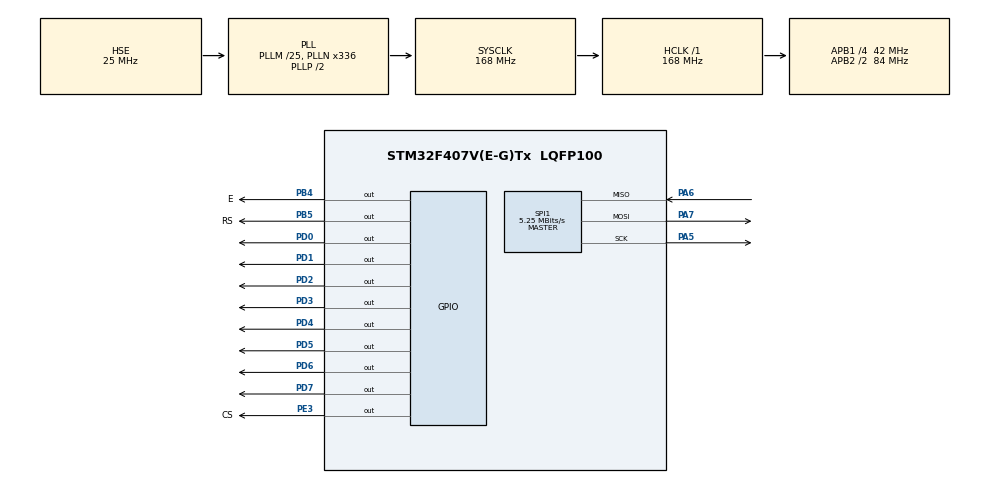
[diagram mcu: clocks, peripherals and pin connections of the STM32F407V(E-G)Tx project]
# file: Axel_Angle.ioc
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Mcu.Family=STM32F4
Mcu.Name=STM32F407V(E-G)Tx
Mcu.Package=LQFP100
NVIC.PriorityGroup=NVIC_PRIORITYGROUP_4
NVIC.RCC_IRQn=true\:0\:0\:false\:false\:true\:true\:false
NVIC.SPI1_IRQn=true\:0\:0\:false\:false\:true\:true\:true
NVIC.TIM5_IRQn=true\:0\:0\:false\:false\:true\:true\:true
PA5.Mode=Full_Duplex_Master
PA5.Signal=SPI1_SCK
PA6.Mode=Full_Duplex_Master
PA6.Signal=SPI1_MISO
PA7.Mode=Full_Duplex_Master
PA7.Signal=SPI1_MOSI
PB4.GPIO_Label=E
PB4.Signal=GPIO_Output
PB5.GPIO_Label=RS
PB5.Signal=GPIO_Output
PD0.GPIO_ModeDefaultOutputPP=GPIO_MODE_OUTPUT_PP
PD0.GPIO_Speed=GPIO_SPEED_FREQ_VERY_HIGH
PD0.Signal=GPIO_Output
PD1.GPIO_ModeDefaultOutputPP=GPIO_MODE_OUTPUT_PP
PD1.GPIO_Speed=GPIO_SPEED_FREQ_VERY_HIGH
PD1.Signal=GPIO_Output
PD2.GPIO_ModeDefaultOutputPP=GPIO_MODE_OUTPUT_PP
PD2.GPIO_Speed=GPIO_SPEED_FREQ_VERY_HIGH
PD2.Signal=GPIO_Output
PD3.GPIO_ModeDefaultOutputPP=GPIO_MODE_OUTPUT_PP
PD3.GPIO_Speed=GPIO_SPEED_FREQ_VERY_HIGH
PD3.Signal=GPIO_Output
PD4.GPIO_ModeDefaultOutputPP=GPIO_MODE_OUTPUT_PP
PD4.GPIO_Speed=GPIO_SPEED_FREQ_VERY_HIGH
PD4.Signal=GPIO_Output
PD5.GPIO_ModeDefaultOutputPP=GPIO_MODE_OUTPUT_PP
PD5.GPIO_Speed=GPIO_SPEED_FREQ_VERY_HIGH
PD5.Signal=GPIO_Output
PD6.GPIO_ModeDefaultOutputPP=GPIO_MODE_OUTPUT_PP
PD6.GPIO_Speed=GPIO_SPEED_FREQ_VERY_HIGH
PD6.Signal=GPIO_Output
PD7.GPIO_ModeDefaultOutputPP=GPIO_MODE_OUTPUT_PP
PD7.GPIO_Speed=GPIO_SPEED_FREQ_VERY_HIGH
PD7.Signal=GPIO_Output
PE3.GPIO_Label=CS
PE3.Signal=GPIO_Output
PH0-OSC_IN.Mode=HSE-External-Oscillator
PH0-OSC_IN.Signal=RCC_OSC_IN
PH1-OSC_OUT.Mode=HSE-External-Oscillator
PH1-OSC_OUT.Signal=RCC_OSC_OUT
ProjectManager.HeapSize=0x200
ProjectManager.StackSize=0x400
ProjectManager.TargetToolchain=MDK-ARM V5
RCC.48MHZClocksFreq_Value=84000000
RCC.AHBFreq_Value=168000000
RCC.APB1CLKDivider=RCC_HCLK_DIV4
RCC.APB1Freq_Value=42000000
RCC.APB1TimFreq_Value=84000000
RCC.APB2CLKDivider=RCC_HCLK_DIV2
RCC.APB2Freq_Value=84000000
RCC.APB2TimFreq_Value=168000000
RCC.CortexFreq_Value=168000000
RCC.EnbaleCSS=true
RCC.HCLKFreq_Value=168000000
RCC.HSE_VALUE=25000000
RCC.HSI_VALUE=16000000
RCC.LSE_VALUE=32768
RCC.PLLM=25
RCC.PLLN=336
RCC.PLLSourceVirtual=RCC_PLLSOURCE_HSE
RCC.SYSCLKFreq_VALUE=168000000
RCC.SYSCLKSource=RCC_SYSCLKSOURCE_PLLCLK
RCC.VCOOutputFreq_Value=336000000
SPI1.BaudRatePrescaler=SPI_BAUDRATEPRESCALER_16
SPI1.CalculateBaudRate=5.25 MBits/s
SPI1.DataSize=SPI_DATASIZE_16BIT
SPI1.Direction=SPI_DIRECTION_2LINES
SPI1.Mode=SPI_MODE_MASTER
SPI1.VirtualType=VM_MASTER
TIM5.Period=50000
TIM5.Prescaler=83
VP_TIM5_VS_OPM.Mode=OPM_bit
board=custom

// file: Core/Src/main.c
/* USER CODE BEGIN Header */
/**
  ******************************************************************************
  * @file           : main.c
  * @brief          : Main program body
  ******************************************************************************
  * @attention
  *
  * <h2><center>&copy; Copyright (c) 2021 STMicroelectronics.
  * All rights reserved.</center></h2>
  *
  * This software component is licensed by ST under BSD 3-Clause license,
  * the "License"; You may not use this file except in compliance with the
  * License. You may obtain a copy of the License at:
  *                        opensource.org/licenses/BSD-3-Clause
  *
  ******************************************************************************
  */
/* USER CODE END Header */
#include "main.h"

/* USER CODE BEGIN Includes */
#include "SPI_Callback.c"
#include "TIM_Callback.c"
/* USER CODE END Includes */

/* USER CODE BEGIN PD */
#define angle_step		183.33
#define	LIS3DSH_Read	0x8000
#define	Read 					1
#define	Write					0
#define CTRL_REG4			0x20
#define Out_XL				0x28
#define Out_XH				0x29
#define Out_YL				0x2A
#define Out_YH				0x2B
/* USER CODE END PD */

SPI_HandleTypeDef hspi1;

TIM_HandleTypeDef htim5;

/* USER CODE BEGIN PV */
int Int_DataX = 0;
int Int_DataY = 0;
uint16_t Out_X = 0x0000;
uint16_t Y_Out = 0x0000;
int SPI_State, TIM_State;
uint16_t	TX=0x8F00;
uint16_t	RX;
float angle_X, Y_angle = 0.0;
char DataX[20] =   {0x00};
char DataY[20] =   {0x00};
/* USER CODE END PV */

void SystemClock_Config(void);
static void MX_GPIO_Init(void);
static void MX_SPI1_Init(void);
static void MX_TIM5_Init(void);
/* USER CODE BEGIN PFP */
uint8_t LIS3DSH_Transmit(uint8_t _Addr, uint8_t _Data, uint8_t _Read);
/* USER CODE END PFP */

int main(void)
{

  /* MCU Configuration--------------------------------------------------------*/

  /* Reset of all peripherals, Initializes the Flash interface and the Systick. */
  HAL_Init();

  /* Configure the system clock */
  SystemClock_Config();

  /* Initialize all configured peripherals */
  MX_GPIO_Init();
  MX_SPI1_Init();
  MX_TIM5_Init();
  /* USER CODE BEGIN 2 */
	TIM_State = 1;
	HAL_TIM_Base_Start_IT(&htim5);
//	SPI_State = 1;
//	HAL_SPI_TransmitReceive_IT(&hspi1, (uint8_t *)&TX, (uint8_t *)&RX, 1);
  /* USER CODE END 2 */

  /* Infinite loop */
  while (1)
  {

  }
}

void SystemClock_Config(void)
{
  RCC_OscInitTypeDef RCC_OscInitStruct = {0};
  RCC_ClkInitTypeDef RCC_ClkInitStruct = {0};

  /** Configure the main internal regulator output voltage
  */
  __HAL_RCC_PWR_CLK_ENABLE();
  __HAL_PWR_VOLTAGESCALING_CONFIG(PWR_REGULATOR_VOLTAGE_SCALE1);
  /** Initializes the RCC Oscillators according to the specified parameters
  * in the RCC_OscInitTypeDef structure.
  */
  RCC_OscInitStruct.OscillatorType = RCC_OSCILLATORTYPE_HSE;
  RCC_OscInitStruct.HSEState = RCC_HSE_ON;
  RCC_OscInitStruct.PLL.PLLState = RCC_PLL_ON;
  RCC_OscInitStruct.PLL.PLLSource = RCC_PLLSOURCE_HSE;
  RCC_OscInitStruct.PLL.PLLM = 25;
  RCC_OscInitStruct.PLL.PLLN = 336;
  RCC_OscInitStruct.PLL.PLLP = RCC_PLLP_DIV2;
  RCC_OscInitStruct.PLL.PLLQ = 4;
  if (HAL_RCC_OscConfig(&RCC_OscInitStruct) != HAL_OK)
  {
    Error_Handler();
  }
  /** Initializes the CPU, AHB and APB buses clocks
  */
  RCC_ClkInitStruct.ClockType = RCC_CLOCKTYPE_HCLK|RCC_CLOCKTYPE_SYSCLK
                              |RCC_CLOCKTYPE_PCLK1|RCC_CLOCKTYPE_PCLK2;
  RCC_ClkInitStruct.SYSCLKSource = RCC_SYSCLKSOURCE_PLLCLK;
  RCC_ClkInitStruct.AHBCLKDivider = RCC_SYSCLK_DIV1;
  RCC_ClkInitStruct.APB1CLKDivider = RCC_HCLK_DIV4;
  RCC_ClkInitStruct.APB2CLKDivider = RCC_HCLK_DIV2;

  if (HAL_RCC_ClockConfig(&RCC_ClkInitStruct, FLASH_LATENCY_5) != HAL_OK)
  {
    Error_Handler();
  }
  /** Enables the Clock Security System
  */
  HAL_RCC_EnableCSS();
}

static void MX_SPI1_Init(void)
{

  /* SPI1 parameter configuration*/
  hspi1.Instance = SPI1;
  hspi1.Init.Mode = SPI_MODE_MASTER;
  hspi1.Init.Direction = SPI_DIRECTION_2LINES;
  hspi1.Init.DataSize = SPI_DATASIZE_16BIT;
  hspi1.Init.CLKPolarity = SPI_POLARITY_LOW;
  hspi1.Init.CLKPhase = SPI_PHASE_1EDGE;
  hspi1.Init.NSS = SPI_NSS_SOFT;
  hspi1.Init.BaudRatePrescaler = SPI_BAUDRATEPRESCALER_16;
  hspi1.Init.FirstBit = SPI_FIRSTBIT_MSB;
  hspi1.Init.TIMode = SPI_TIMODE_DISABLE;
  hspi1.Init.CRCCalculation = SPI_CRCCALCULATION_DISABLE;
  hspi1.Init.CRCPolynomial = 10;
  if (HAL_SPI_Init(&hspi1) != HAL_OK)
  {
    Error_Handler();
  }

}

static void MX_TIM5_Init(void)
{

  htim5.Instance = TIM5;
  htim5.Init.Prescaler = 83;
  htim5.Init.CounterMode = TIM_COUNTERMODE_UP;
  htim5.Init.Period = 50000;
  htim5.Init.ClockDivision = TIM_CLOCKDIVISION_DIV1;
  htim5.Init.AutoReloadPreload = TIM_AUTORELOAD_PRELOAD_DISABLE;
  if (HAL_TIM_OnePulse_Init(&htim5, TIM_OPMODE_SINGLE) != HAL_OK)
  {
    Error_Handler();
  }

}

static void MX_GPIO_Init(void)
{
  GPIO_InitTypeDef GPIO_InitStruct = {0};

  /* GPIO Ports Clock Enable */
  __HAL_RCC_GPIOE_CLK_ENABLE();
  __HAL_RCC_GPIOH_CLK_ENABLE();
  __HAL_RCC_GPIOA_CLK_ENABLE();
  __HAL_RCC_GPIOD_CLK_ENABLE();
  __HAL_RCC_GPIOB_CLK_ENABLE();

  /*Configure GPIO pin Output Level */
  HAL_GPIO_WritePin(CS_GPIO_Port, CS_Pin, GPIO_PIN_RESET);

  /*Configure GPIO pin Output Level */
  HAL_GPIO_WritePin(GPIOD, GPIO_PIN_0|GPIO_PIN_1|GPIO_PIN_2|GPIO_PIN_3
                          |GPIO_PIN_4|GPIO_PIN_5|GPIO_PIN_6|GPIO_PIN_7, GPIO_PIN_RESET);

  /*Configure GPIO pin Output Level */
  HAL_GPIO_WritePin(GPIOB, E_Pin|RS_Pin, GPIO_PIN_RESET);

  /*Configure GPIO pin : CS_Pin */
  GPIO_InitStruct.Pin = CS_Pin;
  GPIO_InitStruct.Mode = GPIO_MODE_OUTPUT_PP;
  GPIO_InitStruct.Pull = GPIO_NOPULL;
  GPIO_InitStruct.Speed = GPIO_SPEED_FREQ_LOW;
  HAL_GPIO_Init(CS_GPIO_Port, &GPIO_InitStruct);

  /*Configure GPIO pins : PD0 PD1 PD2 PD3
                           PD4 PD5 PD6 PD7 */
  GPIO_InitStruct.Pin = GPIO_PIN_0|GPIO_PIN_1|GPIO_PIN_2|GPIO_PIN_3
                          |GPIO_PIN_4|GPIO_PIN_5|GPIO_PIN_6|GPIO_PIN_7;
  GPIO_InitStruct.Mode = GPIO_MODE_OUTPUT_PP;
  GPIO_InitStruct.Pull = GPIO_NOPULL;
  GPIO_InitStruct.Speed = GPIO_SPEED_FREQ_VERY_HIGH;
  HAL_GPIO_Init(GPIOD, &GPIO_InitStruct);

  /*Configure GPIO pins : E_Pin RS_Pin */
  GPIO_InitStruct.Pin = E_Pin|RS_Pin;
  GPIO_InitStruct.Mode = GPIO_MODE_OUTPUT_PP;
  GPIO_InitStruct.Pull = GPIO_NOPULL;
  GPIO_InitStruct.Speed = GPIO_SPEED_FREQ_LOW;
  HAL_GPIO_Init(GPIOB, &GPIO_InitStruct);

}

/* USER CODE BEGIN 4 */

	uint8_t LIS3DSH_Transmit(uint8_t _Addr, uint8_t _Data, uint8_t _Read)
	{
		uint16_t RX = 0x0000;
		uint16_t Data = (_Addr << 8) + _Data;
		if(_Read != 0) Data += LIS3DSH_Read;
		HAL_GPIO_WritePin(CS_GPIO_Port, CS_Pin, GPIO_PIN_RESET);
		HAL_SPI_TransmitReceive(&hspi1,(uint8_t *) &Data,(uint8_t *)&RX, 1, 10);
		HAL_GPIO_WritePin(CS_GPIO_Port, CS_Pin, GPIO_PIN_SET);
		return(RX&0xFF);
	}
/* USER CODE END 4 */

void Error_Handler(void)
{
  __disable_irq();
  while (1)
  {
  }
}

/************************ (C) COPYRIGHT STMicroelectronics *****END OF FILE****/
